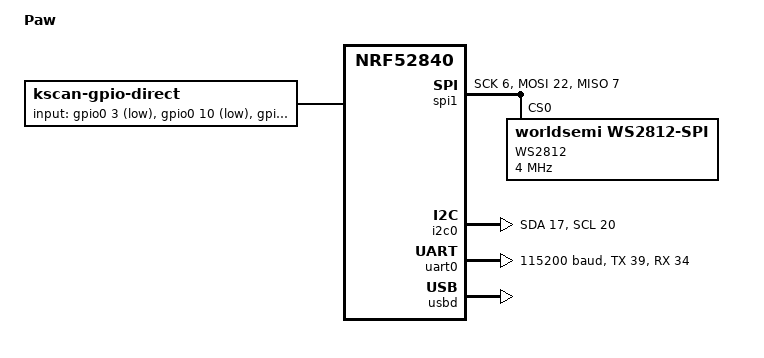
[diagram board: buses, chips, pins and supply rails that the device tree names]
/*
 * Copyright (c) 2020 Taylor Glaeser
 *
 * SPDX-License-Identifier: MIT
 */

/dts-v1/;
#include <nordic/nrf52840_qiaa.dtsi>

/ {
	model = "Paw";
	compatible = "paw";

	chosen {
		zephyr,code-partition = &code_partition;
		// zephyr,console = &uart0;
		//zephyr,bt-mon-uart = &uart0;
		//zephyr,bt-c2h-uart = &uart0;
		zephyr,sram = &sram0;
		zephyr,flash = &flash0;
		zmk,kscan = &kscan0;
		zmk,underglow = &led_strip;
	};

	kscan0: kscan {
		compatible = "zmk,kscan-gpio-direct";
		label = "KSCAN";
		input-gpios
			= <&gpio0 3 (GPIO_ACTIVE_LOW | GPIO_PULL_UP)>
			, <&gpio0 10 (GPIO_ACTIVE_LOW | GPIO_PULL_UP)>
			, <&gpio0 24 (GPIO_ACTIVE_LOW | GPIO_PULL_UP)>
			, <&gpio0 13 (GPIO_ACTIVE_LOW | GPIO_PULL_UP)>
			;
	};

	/*
	leds {
		compatible = "gpio-leds";
		blue_led: led_0 {
			gpios = <&gpio0 15 GPIO_ACTIVE_HIGH>;
			label = "Blue LED";
		};
	};
	*/
};

&spi1 {
  compatible = "nordic,nrf-spim";
  status = "okay";
  mosi-pin = <22>;
  // Unused pins, needed for SPI definition, but not used by the ws2812 driver itself.
  sck-pin = <6>;
  miso-pin = <7>;

  led_strip: ws2812@0 {
    compatible = "worldsemi,ws2812-spi";
    label = "WS2812";

    /* SPI */
    reg = <0>; /* ignored, but necessary for SPI bindings */
    spi-max-frequency = <4000000>;

    /* WS2812 */
    chain-length = <4>; /* number of LEDs */
    spi-one-frame = <0x70>;
    spi-zero-frame = <0x40>;
  };
};

&gpio0 {
	status = "okay";
};

&gpio1 {
	status = "okay";
};

&i2c0 {
	compatible = "nordic,nrf-twi";
	sda-pin = <17>;
	scl-pin = <20>;
};

&uart0 {
	compatible = "nordic,nrf-uarte";
	status = "okay";
	current-speed = <115200>;
	tx-pin = <39>;
	rx-pin = <34>;
	rts-pin = <33>;
	cts-pin = <12>;
};

&usbd {
	status = "okay";
};


&flash0 {
	/*
	 * For more information, see:
	 * http://docs.zephyrproject.org/latest/devices/dts/flash_partitions.html
	 */
	partitions {
		compatible = "fixed-partitions";
		#address-cells = <1>;
		#size-cells = <1>;

		boot_partition: partition@0 {
			label = "adafruit_boot";
			reg = <0x000000000 0x0000C000>;
		};
		code_partition: partition@26000 {
			label = "code_partition";
			reg = <0x00026000 0x000d2000>;
		};

		/*
		 * The flash starting at 0x000f8000 and ending at
		 * 0x000fffff is reserved for use by the application.
		 */

		/*
		 * Storage partition will be used by FCB/LittleFS/NVS
		 * if enabled.
		 */
		storage_partition: partition@f8000 {
			label = "storage";
			reg = <0x000f8000 0x00008000>;
		};
	};
};
